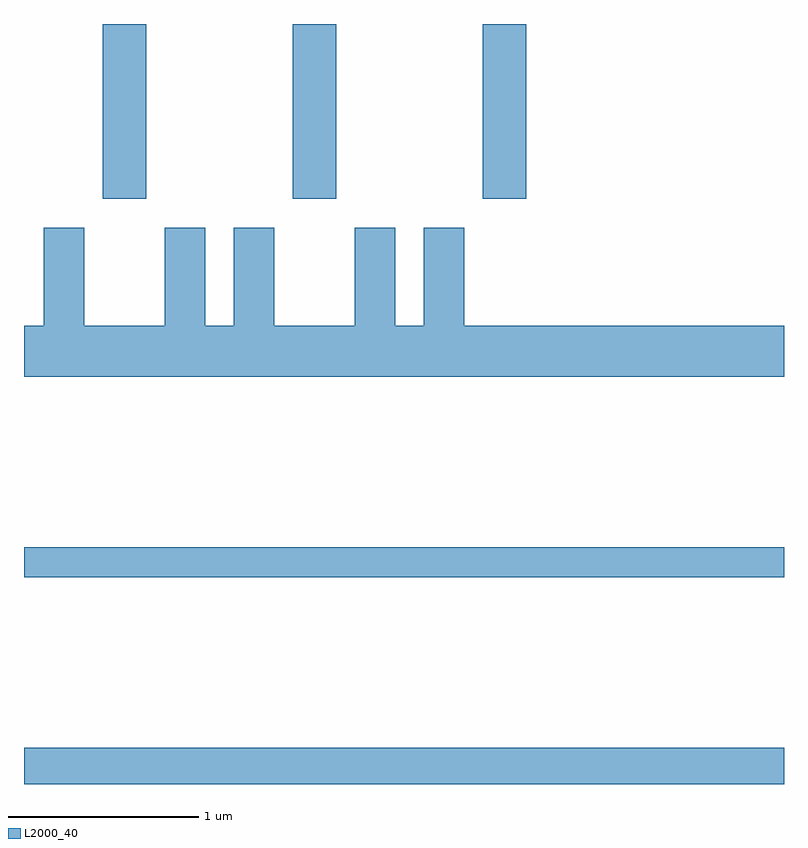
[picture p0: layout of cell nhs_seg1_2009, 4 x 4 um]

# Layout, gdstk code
import gdstk
lib = gdstk.Library(unit=1e-6, precision=1e-09)
def R(c, l, rs):  # rectangles x0, y0, x1, y1
    for r in rs: c.add(gdstk.rectangle(r[:2], r[2:], *l))
def A(c, l, x, y, w, h, nx, ny, dx, dy):  # array of equal rectangles
    R(c, l, [(x+i*dx, y+j*dy, x+i*dx+w, y+j*dy+h) for i in range(nx) for j in range(ny)])
def P(c, l, *ps):  # polygons
    for p in ps: c.add(gdstk.Polygon(p, *l))
L2000_40 = (2000, 40)

nhs_seg1_2009 = lib.new_cell('nhs_seg1_2009')
A(nhs_seg1_2009, L2000_40, 248.026, 842.791, 0.228, 0.921, 3, 1, 1, 0)
R(nhs_seg1_2009, L2000_40, [(247.611,839.712,251.611,839.904), (247.611,840.801,251.611,840.959)])
P(nhs_seg1_2009, L2000_40, [(251.611,842.124),(249.929,842.124),(249.929,842.639),(249.716,842.639),(249.716,842.124),(249.564,842.124),(249.564,842.639),(249.351,842.639),(249.351,842.124),(248.929,842.124),(248.929,842.639),(248.716,842.639),(248.716,842.124),(248.564,842.124),(248.564,842.639),(248.351,842.639),(248.351,842.124),(247.929,842.124),(247.929,842.639),(247.716,842.639),(247.716,842.124),(247.611,842.124),(247.611,841.856),(251.611,841.856)])

lib.write_gds('nhs_seg1_2009.gds')
